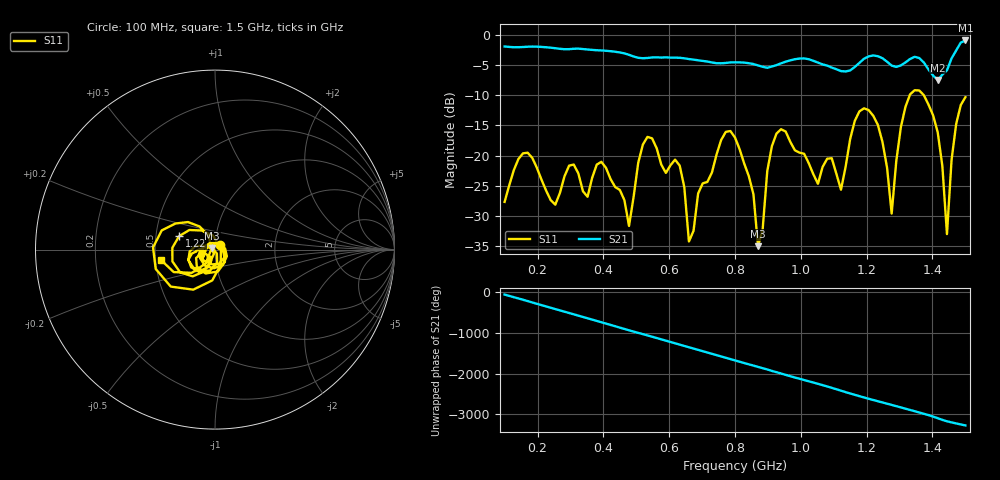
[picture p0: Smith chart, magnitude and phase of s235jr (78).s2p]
! NanoVNA-App
! Date: 2025-09-26 09:45:23
! Start: 100MHz Stop: 1,5GHz Points: 101
! S-Parameter data: F S11 S21 S12 S22
# Hz S RI R 50
!  Frequency  S11_Real  S11_Imag  S21_Real  S21_Imag  S12_Real  S12_Imag  S22_Real  S22_Imag
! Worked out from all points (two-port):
!   101 points, 100 MHz to 1.5 GHz, reference 50 ohm
!   highest |S21| = -0.96 dB at 1.5 GHz (marker M1); lowest = -7.5 dB at 1.416 GHz (marker M2)
!   |S21| within 3 dB of the highest: start of sweep to 651.6 MHz; 1.193 GHz to 1.25 GHz (56.69 MHz wide, 4.64 % of centre) (the widest 2 of 5)
!   lowest |S11| = -35.0 dB at 870 MHz (marker M3), VSWR 1.04, Z = 48.5 + j0.93 ohm
!   |S11| at or under -10 dB: start of sweep to 1.331 GHz; 1.374 GHz to end of sweep
!   S12 and S22 are empty: the file has one direction only
!   S11 on the Smith chart (normalised r, x): 100 MHz: 1.06, +0.06; 1.22 GHz: 0.66, +0.10; 1.5 GHz: 0.54, -0.07
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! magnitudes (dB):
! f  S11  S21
! 100 MHz  -27.6  -2.0
! 156 MHz  -19.6  -2.0
! 338 MHz  -25.9  -2.4
! 394 MHz  -21.0  -2.6
! 478 MHz  -31.6  -3.3
! 520 MHz  -18.2  -3.9
! 576 MHz  -21.5  -3.8
! 632 MHz  -21.7  -3.8
! 660 MHz  -34.2  -4.0
! 800 MHz  -17.0  -4.6
! 870 MHz  -35.0  -5.1
! 926 MHz  -16.4  -5.0
! 1.038 GHz  -23.1  -4.3
! 1.122 GHz  -25.6  -6.0
! 1.164 GHz  -14.2  -5.3
! 1.22 GHz  -13.4  -3.4
! 1.276 GHz  -29.6  -5.1
! 1.332 GHz  -9.9  -4.0
! 1.416 GHz  -16.2  -7.5
! 1.444 GHz  -33.0  -5.9
! 1.472 GHz  -14.8  -2.6
! 1.5 GHz  -10.3  -1.0
